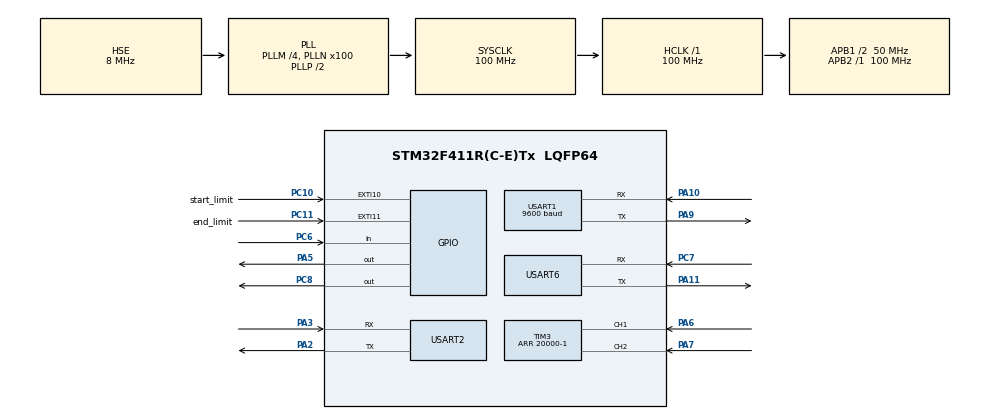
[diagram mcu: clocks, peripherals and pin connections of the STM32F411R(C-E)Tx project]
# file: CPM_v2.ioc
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Mcu.Family=STM32F4
Mcu.Name=STM32F411R(C-E)Tx
Mcu.Package=LQFP64
NVIC.PriorityGroup=NVIC_PRIORITYGROUP_4
NVIC.TIM3_IRQn=true\:0\:0\:false\:false\:true\:true\:true\:true
NVIC.USART1_IRQn=true\:0\:0\:false\:false\:true\:true\:true\:true
NVIC.USART2_IRQn=true\:0\:0\:false\:false\:true\:true\:true\:true
NVIC.USART6_IRQn=true\:0\:0\:false\:false\:true\:true\:true\:true
PA10.Mode=Asynchronous
PA10.Signal=USART1_RX
PA11.Mode=Asynchronous
PA11.Signal=USART6_TX
PA13.Mode=Serial_Wire
PA13.Signal=SYS_JTMS-SWDIO
PA14.Mode=Serial_Wire
PA14.Signal=SYS_JTCK-SWCLK
PA2.Mode=Asynchronous
PA2.Signal=USART2_TX
PA3.Mode=Asynchronous
PA3.Signal=USART2_RX
PA5.Signal=GPIO_Output
PA6.Signal=S_TIM3_CH1
PA7.Signal=S_TIM3_CH2
PA9.Mode=Asynchronous
PA9.Signal=USART1_TX
PB8.Signal=I2C1_SCL
PB9.Signal=I2C1_SDA
PC10.GPIO_Label=start_limit
PC10.GPIO_ModeDefaultEXTI=GPIO_MODE_IT_RISING_FALLING
PC10.Signal=GPXTI10
PC11.GPIO_Label=end_limit
PC11.GPIO_ModeDefaultEXTI=GPIO_MODE_IT_RISING_FALLING
PC11.Signal=GPXTI11
PC6.Signal=GPIO_Input
PC7.Mode=Asynchronous
PC7.Signal=USART6_RX
PC8.Signal=GPIO_Output
PH0\ -\ OSC_IN.Mode=HSE-External-Oscillator
PH0\ -\ OSC_IN.Signal=RCC_OSC_IN
PH1\ -\ OSC_OUT.Mode=HSE-External-Oscillator
PH1\ -\ OSC_OUT.Signal=RCC_OSC_OUT
ProjectManager.HeapSize=0x200
ProjectManager.StackSize=0x400
ProjectManager.TargetToolchain=STM32CubeIDE
RCC.48MHZClocksFreq_Value=50000000
RCC.AHBFreq_Value=100000000
RCC.APB1CLKDivider=RCC_HCLK_DIV2
RCC.APB1Freq_Value=50000000
RCC.APB1TimFreq_Value=100000000
RCC.APB2Freq_Value=100000000
RCC.APB2TimFreq_Value=100000000
RCC.CortexFreq_Value=100000000
RCC.HCLKFreq_Value=100000000
RCC.HSE_VALUE=8000000
RCC.HSI_VALUE=16000000
RCC.LSE_VALUE=32768
RCC.PLLM=4
RCC.PLLN=100
RCC.PLLSourceVirtual=RCC_PLLSOURCE_HSE
RCC.SYSCLKFreq_VALUE=100000000
RCC.SYSCLKSource=RCC_SYSCLKSOURCE_PLLCLK
RCC.VCOOutputFreq_Value=200000000
SH.S_TIM3_CH1.0=TIM3_CH1,Encoder_Interface
SH.S_TIM3_CH2.0=TIM3_CH2,Encoder_Interface
TIM3.EncoderMode=TIM_ENCODERMODE_TI12
TIM3.IC1Filter=10
TIM3.Period=20000-1
USART1.BaudRate=9600
USART1.VirtualMode=VM_ASYNC
USART2.VirtualMode=VM_ASYNC
USART6.VirtualMode=VM_ASYNC
board=custom

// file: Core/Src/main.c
/* USER CODE BEGIN Header */
/**
 ******************************************************************************
 * @file           : main.c
 * @brief          : Main program body
 ******************************************************************************
 * @attention
 *
 * Copyright (c) 2025 STMicroelectronics.
 * All rights reserved.
 *
 * This software is licensed under terms that can be found in the LICENSE file
 * in the root directory of this software component.
 * If no LICENSE file comes with this software, it is provided AS-IS.
 *
 ******************************************************************************
 */
/* USER CODE END Header */
#include "main.h"
#include "tim.h"
#include "usart.h"
#include "gpio.h"

/* USER CODE BEGIN Includes */
#include <stdio.h>
#include <string.h>
#include <stdbool.h>
#include <stdlib.h>  // abs() 함수를 위해 추가
#include "encoder.h"
#include "servo.h"
#include "HX711.h"
/* USER CODE END Includes */

/* USER CODE BEGIN PTD */
// 프로토콜 데이터 구조체 정의
typedef struct {
  uint8_t startByte1;
  uint8_t startByte2;
  uint8_t dataLength;
  uint8_t command;
  uint8_t objNum1;
  uint8_t objNum2;
  uint8_t dataByte;
  uint8_t data1;
  uint8_t data2;
} ProtocolData_t;

typedef enum {
  CPM_STATE_IDLE = 0,        // 대기 상태
  CPM_STATE_RUNNING,         // 동작 중
  CPM_STATE_PAUSED,         // 일시정지
  CPM_STATE_STOP,           //정지
  CPM_STATE_EMERGENCY_STOP   // 비상정지
} CPM_State_t;

// CPM 동작 상태 정의
typedef enum {
  CPM_IDLE = 0,
  CPM_ACTIVE,
  CPM_PASSIVE,
  CPM_FORCE_MEASURE  // 힘 측정 모드 추가
} CPM_Mode_t;

// 액티브 모드 파라미터
typedef struct {
  uint8_t speed;          // 동작 속도
  uint8_t angle;          // 동작 각도
  uint8_t repeat;         // 반복 횟수
  uint8_t delay;          // 딜레이
} Active_Params_t;

// 패시브 모드 서브 모드
typedef enum {
  PASSIVE_ASSIST = 0,   // 서포트 모드 (도와주는 모드)
  PASSIVE_RESIST,        // 저항 모드
} PassiveMode_t;

// 패시브 모드 파라미터
typedef struct {
  PassiveMode_t mode;   // PASSIVE_ASSIST(서포트) 또는 PASSIVE_RESIST(저항)
  uint8_t torque_level; // 토크 레벨 (1-10)
} Passive_Params_t;

// CPM 메인 구조체
typedef struct {
  CPM_State_t state;    // CPM 동작 상태
  CPM_Mode_t mode;      // 현재 동작 모드 (액티브/패시브)
  Active_Params_t active;    // 액티브 모드 파라미터
  Passive_Params_t passive;  // 패시브 모드 파라미터
} CPM_Params_t;
/* USER CODE END PTD */

/* USER CODE BEGIN PD */
#define START_BYTE1     0x5A
#define START_BYTE2     0xA5
#define DATA_LENGTH     9
#define MAX_TORQUE_LEVEL    50
/* USER CODE END PD */

/* USER CODE BEGIN PV */
static volatile bool is_motor_enabled = true;
char uart_buf[100];  // UART 출력용 버퍼

uint8_t rxData;
uint8_t rxBuffer[DATA_LENGTH];
uint8_t dataIndex = 0;
ProtocolData_t protocolData;

static int repeat_count = 0;
static bool cpm_initialized = false;
static bool moving_forward = true;
static bool params_updated = false;   // 파라미터가 업데이트되었는지 표시하는 플래그
static bool stop = false;
static uint32_t timer_counter = 0;

// CPM 파라미터 초기화
static CPM_Params_t cpm_params = {
  .state = CPM_STATE_RUNNING,
  .mode = CPM_PASSIVE,
  .active = {
    .speed = 1,       // 속도 초기값 (1~10)
    .angle = 10,      // 각도 초기값 (10~120)
    .repeat = 10,     // 반복 횟수 초기값 (1~100)
    .delay = 1
  },
  .passive = {
    .mode = PASSIVE_ASSIST,
    .torque_level = 30
  }
};

float calibration_factor = 67000.0f;   // HX711.c와 동일한 값으로 설정
float known_weight = 4000.0f;             // 4000g(그램 단위)
/* USER CODE END PV */

void SystemClock_Config(void);
/* USER CODE BEGIN PFP */
int __io_putchar(int ch)
{
  HAL_UART_Transmit(&huart6, (uint8_t *)&ch, 1, HAL_MAX_DELAY);
  return ch;
}

/* USER CODE END PFP */

int main(void)
{

  /* MCU Configuration--------------------------------------------------------*/

  /* Reset of all peripherals, Initializes the Flash interface and the Systick. */
  HAL_Init();

  /* Configure the system clock */
  SystemClock_Config();

  /* Initialize all configured peripherals */
  MX_GPIO_Init();
  MX_USART2_UART_Init();
  MX_TIM3_Init();
  MX_USART1_UART_Init();
  MX_USART6_UART_Init();
  /* USER CODE BEGIN 2 */
  // hmi
  HAL_UART_Receive_IT(&huart2, &rxData, 1);

  // encoder
  Encoder_SetTimHandle(&htim3);
  Encoder_Start();
  HAL_Delay(500);
  // 로드셀
  HX711_Init();
  HAL_Delay(500);  // 안정화 대기

  //motor init
  RS485_MotorInit(&huart1);

  /* USER CODE END 2 */

  /* Infinite loop */
  /* USER CODE BEGIN WHILE */
  while (1)
  {
    // 타이머 카운터 업데이트
    timer_counter = HAL_GetTick();

    // 디버깅 목적으로 현재 엔코더 각도 출력 코드 (필요 시 주석 해제)
    // float angle = Encoder_GetAngle();
    // printf("Angle: %d\n", (int)angle);

    switch (cpm_params.mode)
    {
      case CPM_IDLE:
        // IDLE 상태에서는 아무 동작도 하지 않음
        break;
//-------------------------------------------------------------------------//
      case CPM_ACTIVE:
        if (cpm_params.state == CPM_STATE_RUNNING)
        {
          char command[10];
          float current_angle = Encoder_GetAngle();
          uint32_t delay = cpm_params.active.delay * 1000;  // uint32_t로 변경

          // 엔코더 각도 범위 처리 (0~360도)
          if (current_angle > 270 && current_angle <= 360)
            {current_angle = 0.0f;}
          else if (current_angle > 150.0f && current_angle < 270)
            {current_angle = cpm_params.active.angle;}

          // HMI로부터 파라미터가 업데이트된 경우 새 동작을 시작
          if (params_updated) {
            // 모터 정지 후 새 파라미터로 재시작
            RS485_SendCommand("ST");    // 모터 정지
            HAL_Delay(200);

            // 초기화 플래그 리셋하여 새 파라미터로 초기화
            cpm_initialized = false;
            params_updated = false;  // 업데이트 플래그 초기화
          }

          // 초기 설정이 안 된 경우 초기화
          if (!cpm_initialized) {
            // 모터 초기화
            RS485_SendCommand("ME");    // 모터 활성화
            HAL_Delay(500);             // 모터 활성화 대기

            // 기본 파라미터 설정
            RS485_SendCommand("JA100");  // 가속도
            RS485_SendCommand("JL100");  // 감속도
            RS485_SendCommand("JS10");   // 저크
            RS485_SendCommand("CJ");    // 조그 모드 설정 적용

            // 반복 카운터 초기화
            repeat_count = cpm_params.active.repeat;
            cpm_initialized = true;

            // 초기 방향 설정 (전진)
            sprintf(command, "CS%d", cpm_params.active.speed);
            RS485_SendCommand(command);
            moving_forward = true;
          }

          // 방향 및 제한 확인
          if (moving_forward && (current_angle >= cpm_params.active.angle)) {
            // 전진 한계 도달, 방향 전환
            RS485_SendCommand("ST");
            HAL_Delay(delay);  // 정수 값 사용
            RS485_SendCommand("CJ");    // 조그 모드 설정 적용
            sprintf(command, "CS-%d", cpm_params.active.speed);
            RS485_SendCommand(command);
            moving_forward = false;
          }
          else if (!moving_forward && current_angle <= 0.0f) {
            // 시작 위치에 도달, 한 사이클 완료
            repeat_count--;

            if (repeat_count <= 0) {
              // 모든 반복 완료
              RS485_SendCommand("ST");  // 정지
              cpm_params.state = CPM_STATE_IDLE;
              cpm_initialized = false;
            } else {
              // 다음 사이클 시작
              RS485_SendCommand("ST");
              HAL_Delay(delay);
              RS485_SendCommand("CJ");    // 조그 모드 설정 적용
              sprintf(command, "CS%d", cpm_params.active.speed);
              RS485_SendCommand(command);
              moving_forward = true;
            }
          }

          // 루프 간 딜레이
          HAL_Delay(20);
        }
        else if(cpm_params.state == CPM_STATE_PAUSED)
        {
          RS485_SendCommand("ST");
        }
        else if(cpm_params.state == CPM_STATE_STOP)
        {
          if(!stop)
          {
            // 처음 정지 명령을 받았을 때 일단 모터 멈춤
            RS485_SendCommand("ST");
            HAL_Delay(1000);

            float current_angle = Encoder_GetAngle();

            // 현재 위치가 이미 0도(±0.1 범위)면 바로 정지 완료
            if (current_angle <= 0) {
              moving_forward = true; // 기본값 설정
              cpm_params.state = CPM_STATE_IDLE;
            }
            else {
              // 0도가 아니면 무조건 0도 방향으로 이동하도록 설정
              RS485_SendCommand("JS1");
              RS485_SendCommand("CJ");    // 조그 모드 설정 적용

              // 현재 각도가 0보다 크면 후진 방향으로 명령
              if (current_angle > 0) {
                RS485_SendCommand("CS-2");  // 0도 방향으로 천천히 이동
                moving_forward = false;     // 후진 상태로 설정
              }
            }

            stop = true;  // 초기화 완료 표시
          }
          else if (stop) {
            // stop 플래그가 true일 때는 0도 도달만 체크
            float current_angle = Encoder_GetAngle();

            // 부동소수점 비교를 위해 작은 범위로 설정
            if (current_angle <= 0) {
              // 시작 위치(0도)에 도달, 정지 처리
              RS485_SendCommand("ST");
              moving_forward = true;  // 기본 상태로 복원
              cpm_params.state = CPM_STATE_IDLE;
            }
          }
        }
        else if(cpm_params.state == CPM_STATE_EMERGENCY_STOP)
        {
          RS485_SendCommand("ST");
          RS485_SendCommand("MD");
        }
        else if(cpm_params.state == CPM_STATE_IDLE)
        {
          RS485_SendCommand("ST");
        }
//        break;
//-----------------------------------------------------------------------------------//
      case CPM_PASSIVE:
        if (cpm_params.state == CPM_STATE_RUNNING)
        {
          static uint32_t passive_loadcell_tick = 0;
          if(timer_counter - passive_loadcell_tick >= 50)
          {
            int weight = HX711_GetWeight();
            printf("%d\r\n",weight);

            // 초기화 체크
            if (!cpm_initialized)
            {
              // 모터 초기화 코드
            	RS485_SendCommand("ME");
            	RS485_SendCommand("CM1");
              cpm_initialized = true;
            }

            // 데드존 체크 (-100g ~ +100g 무시)
            if (abs(weight) > 100)
            {
              // 토크 제한 적용
              uint8_t limited_torque = (cpm_params.passive.torque_level > MAX_TORQUE_LEVEL) ?
                                      MAX_TORQUE_LEVEL : cpm_params.passive.torque_level;
              char torque_cmd[10];

              switch(cpm_params.passive.mode)
              {
              case PASSIVE_ASSIST:  // 서포트 모드
                if (weight > 100)  // 미는 힘
                {
                  sprintf(torque_cmd, "GC-%d", limited_torque);
                  RS485_SendCommand(torque_cmd);  // 양의 토크로 도와줌
                }
                else if (weight < -100)  // 당기는 힘
                {
                  sprintf(torque_cmd, "GC%d", limited_torque);
                  RS485_SendCommand(torque_cmd);  // 음의 토크로 도와줌
                }
                break;

              case PASSIVE_RESIST:  // 저항 모드
                if (weight > 100)  // 미는 힘
                {
                  sprintf(torque_cmd, "GC%d", limited_torque);
                  RS485_SendCommand(torque_cmd);  // 음의 토크로 저항
                }
                else if (weight < -100)  // 당기는 힘
                {
                  sprintf(torque_cmd, "GC-%d", limited_torque);
                  RS485_SendCommand(torque_cmd);  // 양의 토크로 저항
                }
                break;
              }
            }
            else  // 데드존 내의 힘
            {
              RS485_SendCommand("GC0");  // 토크 0
            }

            passive_loadcell_tick = timer_counter;
          }
        }
        break;
 //-------------------------------------------------------------------------//
      case CPM_FORCE_MEASURE:
        // 힘 측정 모드 구현
        break;
    }

    /* USER CODE END WHILE */

  }
}

void SystemClock_Config(void)
{
  RCC_OscInitTypeDef RCC_OscInitStruct = {0};
  RCC_ClkInitTypeDef RCC_ClkInitStruct = {0};

  /** Configure the main internal regulator output voltage
  */
  __HAL_RCC_PWR_CLK_ENABLE();
  __HAL_PWR_VOLTAGESCALING_CONFIG(PWR_REGULATOR_VOLTAGE_SCALE1);

  /** Initializes the RCC Oscillators according to the specified parameters
  * in the RCC_OscInitTypeDef structure.
  */
  RCC_OscInitStruct.OscillatorType = RCC_OSCILLATORTYPE_HSE;
  RCC_OscInitStruct.HSEState = RCC_HSE_ON;
  RCC_OscInitStruct.PLL.PLLState = RCC_PLL_ON;
  RCC_OscInitStruct.PLL.PLLSource = RCC_PLLSOURCE_HSE;
  RCC_OscInitStruct.PLL.PLLM = 4;
  RCC_OscInitStruct.PLL.PLLN = 100;
  RCC_OscInitStruct.PLL.PLLP = RCC_PLLP_DIV2;
  RCC_OscInitStruct.PLL.PLLQ = 4;
  if (HAL_RCC_OscConfig(&RCC_OscInitStruct) != HAL_OK)
  {
    Error_Handler();
  }

  /** Initializes the CPU, AHB and APB buses clocks
  */
  RCC_ClkInitStruct.ClockType = RCC_CLOCKTYPE_HCLK|RCC_CLOCKTYPE_SYSCLK
                              |RCC_CLOCKTYPE_PCLK1|RCC_CLOCKTYPE_PCLK2;
  RCC_ClkInitStruct.SYSCLKSource = RCC_SYSCLKSOURCE_PLLCLK;
  RCC_ClkInitStruct.AHBCLKDivider = RCC_SYSCLK_DIV1;
  RCC_ClkInitStruct.APB1CLKDivider = RCC_HCLK_DIV2;
  RCC_ClkInitStruct.APB2CLKDivider = RCC_HCLK_DIV1;

  if (HAL_RCC_ClockConfig(&RCC_ClkInitStruct, FLASH_LATENCY_3) != HAL_OK)
  {
    Error_Handler();
  }
}

/* USER CODE BEGIN 4 */
void HAL_UART_RxCpltCallback(UART_HandleTypeDef *huart)
{
  //dwin hmi lcd
  if (huart->Instance == USART2)
  {
    switch(dataIndex)
    {
      case 0:  // 첫 바이트
        if(rxData == START_BYTE1)
        {
          rxBuffer[dataIndex++] = rxData;
        }
        break;

      case 1:  // 두번째 바이트
        if(rxData == START_BYTE2)
        {
          rxBuffer[dataIndex++] = rxData;
        }
        else
        {
          dataIndex = 0;
        }
        break;

      default:  // 나머지 데이터
        rxBuffer[dataIndex++] = rxData;
        if(dataIndex >= DATA_LENGTH)
        {
          protocolData.startByte1 = rxBuffer[0];
          protocolData.startByte2 = rxBuffer[1];
          protocolData.dataLength = rxBuffer[2];
          protocolData.command = rxBuffer[3];
          protocolData.objNum1 = rxBuffer[4];
          protocolData.objNum2 = rxBuffer[5];
          protocolData.dataByte = rxBuffer[6];
          protocolData.data1 = rxBuffer[7];
          protocolData.data2 = rxBuffer[8];

          // objNum1과 objNum2를 조합하여 파라미터 식별
          uint16_t param_id = (protocolData.objNum1 << 8) | protocolData.objNum2;

          // 파라미터 업데이트
          switch(param_id)
          {
            case 0x1000:  // 속도 (1-10)
              cpm_params.active.speed = protocolData.data2;
              // 실행 중에는 값만 저장하고 업데이트 플래그는 설정하지 않음
              break;

            case 0x1001:  // 각도 (10-120)
              cpm_params.active.angle = protocolData.data2;
              // 실행 중에는 값만 저장하고 업데이트 플래그는 설정하지 않음
              break;

            case 0x1002:  // 반복 (10-100)
              cpm_params.active.repeat = protocolData.data2;
              // 실행 중에는 값만 저장하고 업데이트 플래그는 설정하지 않음
              break;

            case 0x1003:  // 딜레이 (1-10)
              cpm_params.active.delay = protocolData.data2;
              // 실행 중에는 값만 저장하고 업데이트 플래그는 설정하지 않음
              break;

            case 0x1100:
              // 패시브 모드 토크 레벨 설정
              cpm_params.passive.torque_level = protocolData.data2;
              break;

            case 0x3000:
              // 상호작용 버튼
              switch(protocolData.data2)
              {
                case 0x01:  // 시작
                  cpm_params.state = CPM_STATE_RUNNING;
                  params_updated = true;  // 시작 버튼 누를 때만 파라미터 적용
                  break;

                case 0x02:  // 일시정지
                  cpm_params.state = CPM_STATE_PAUSED;
                  break;

                case 0x03:  // 정지
                  cpm_params.state = CPM_STATE_STOP;
                  stop = false;
                  break;

                case 0x04:  // 0점(초기화)
                  cpm_params.state = CPM_STATE_IDLE;
                  break;

                case 0x05:  // 비상정지
                  cpm_params.state = CPM_STATE_EMERGENCY_STOP;
                  break;
              }
              break;

            case 0x3100:
              // 상호작용 버튼
              switch(protocolData.data2)
              {
                case 0x01:  // 시작
                  cpm_params.state = CPM_STATE_RUNNING;
                  params_updated = true;  // 시작 버튼 누를 때만 파라미터 적용
                  break;

                case 0x02:  // 일시정지
                  cpm_params.state = CPM_STATE_PAUSED;
                  break;

                case 0x03:  // 정지
                  cpm_params.state = CPM_STATE_STOP;
                  stop = false;
                  break;

                case 0x04:  // 0점(초기화)
                  cpm_params.state = CPM_STATE_IDLE;
                  break;

                case 0x05:  // 비상정지
                  cpm_params.state = CPM_STATE_EMERGENCY_STOP;
                  break;

                case 0x06:  // 서포트모드
                  cpm_params.mode = CPM_PASSIVE;
                  cpm_params.passive.mode = PASSIVE_ASSIST;
                  break;

                case 0x07:  // 저항모드
                  cpm_params.mode = CPM_PASSIVE;
                  cpm_params.passive.mode = PASSIVE_RESIST;
                  break;

                case 0x08:  // 비례모드 (힘 측정 모드로 처리)
                  cpm_params.mode = CPM_FORCE_MEASURE;
                  break;
              }
              break;

            case 0x4000:  // 모드 선택
              switch(protocolData.data2)
              {
                case 0x01:  // 액티브 모드
                  cpm_params.mode = CPM_ACTIVE;
                  break;

                case 0x02:  // 패시브 모드
                  cpm_params.mode = CPM_PASSIVE;
                  break;

                case 0x03:  // 힘측정 모드
                  cpm_params.mode = CPM_FORCE_MEASURE;
                  break;
              }
              break;
          }

          dataIndex = 0;
        }
        break;
    }
    HAL_UART_Receive_IT(huart, &rxData, 1);
  }
}

// limit sensor
void HAL_GPIO_EXTI_Callback(uint16_t GPIO_Pin)
{
  if (GPIO_Pin == start_limit_Pin)
  {

    RS485_MotorDisable(); // 안전을 위해 모터도 정지
  }

  if (GPIO_Pin == end_limit_Pin)
  {
    // 끝 위치 감지: 모터만 정지
    RS485_MotorDisable();
  }
}
/* USER CODE END 4 */

void Error_Handler(void)
{
  __disable_irq();
  while (1)
  {
  }
}
